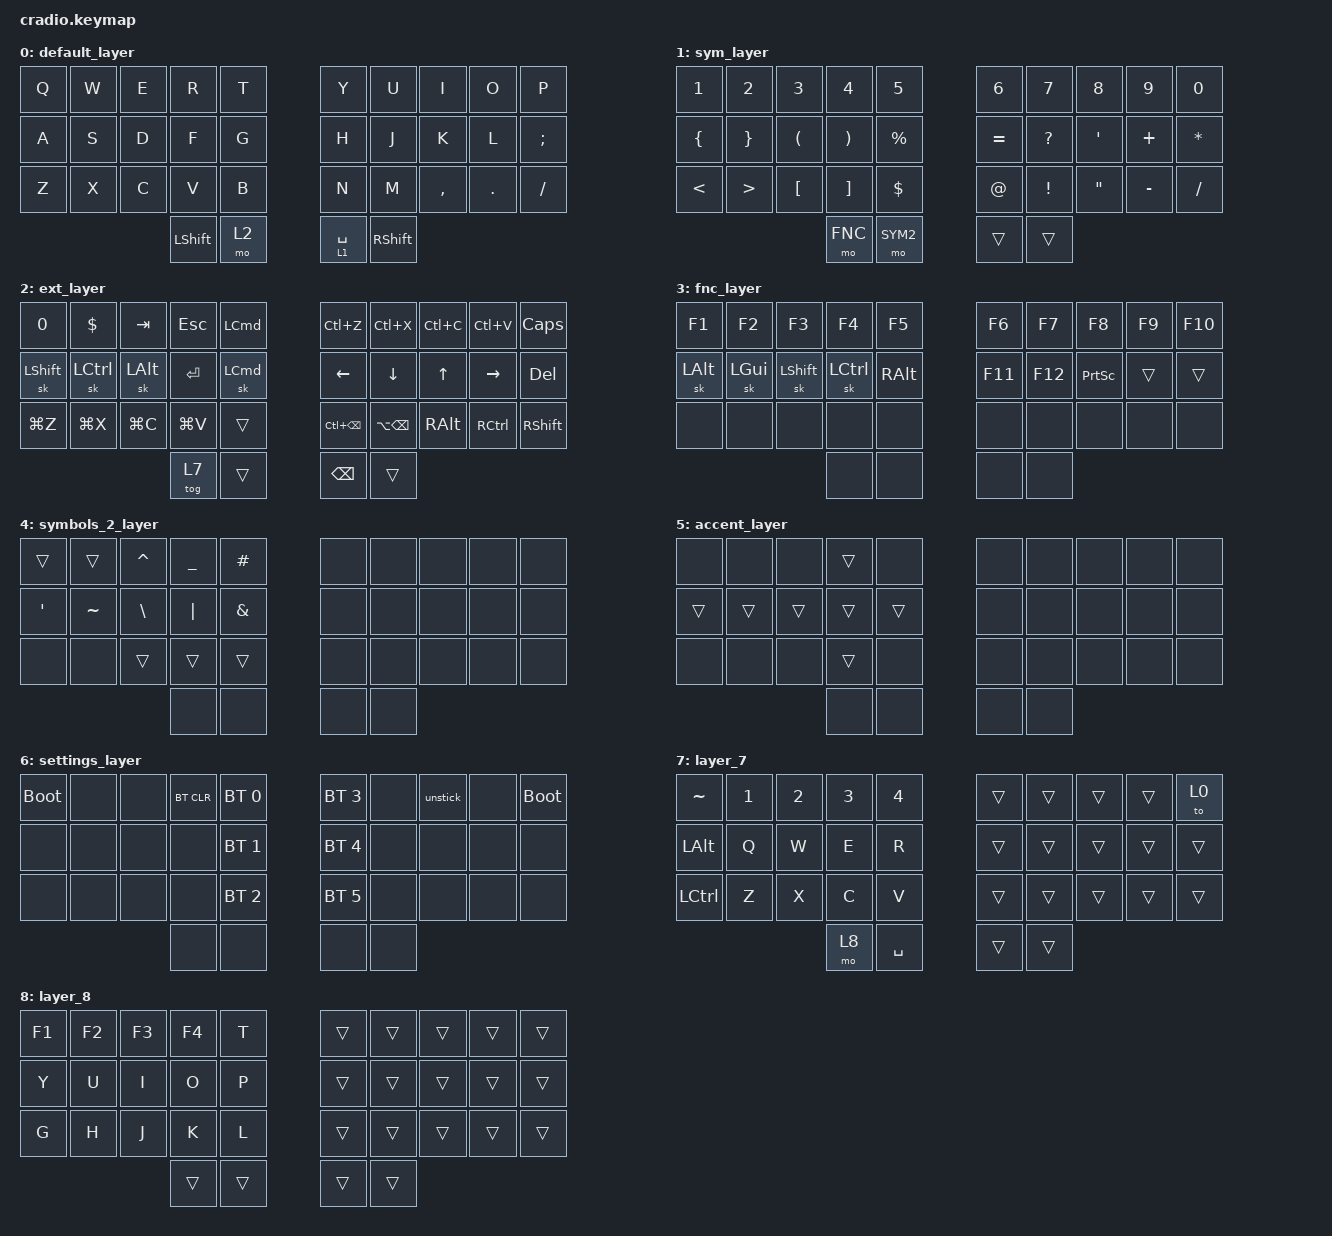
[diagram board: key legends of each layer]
// Copyright (c) 2022 The ZMK Contributors
// SPDX-License-Identifier: MIT

#include "keymap_italian.h"
#include <behaviors.dtsi>
#include <dt-bindings/zmk/bt.h>
#include <dt-bindings/zmk/keys.h>

// Layer definitions

#define BASE 0
#define SYM 1
#define EXT 2
#define FNC 3
#define SYM2 4
#define ACCENT 5
#define SETTINGS 6

// -----------------

&mt {
    //  flavor = "tap-preferred";
    // tapping_term_ms = <200>;
};

&sk { ignore-modifiers; };

/ {
    macros {
        // sometimes my device thinks a modifier is being held down
        // pressing all modifiers fixes it.

        unstick: unstick {
            label = "ZM_unstick";
            compatible = "zmk,behavior-macro";
            #binding-cells = <0>;
            bindings = <&kp LSHIFT &kp RSHIFT &kp LCTRL &kp RCTRL &kp LALT &kp RALT &kp LGUI &kp RGUI>;
        };
    };

    combos {
        compatible = "zmk,combos";

        // both right thumb keys

        combo_accent {
            timeout-ms = <300>;
            key-positions = <32 33>;
            bindings = <&mo ACCENT>;
        };

        // internal-left & external-right thumb keys

        combo_sym2 {
            timeout-ms = <200>;
            key-positions = <31 33>;
            bindings = <&mo SYM2>;
        };

        // both left thumb keys

        combo_settings {
            timeout-ms = <300>;
            key-positions = <30 31>;
            bindings = <&mo SETTINGS>;
        };
    };

    keymap {
        compatible = "zmk,keymap";

        // Base alpha layer

        default_layer {
            bindings = <
&kp Q  &kp W  &kp E  &kp R           &kp T    &kp Y        &kp U            &kp I      &kp O    &kp P
&kp A  &kp S  &kp D  &kp F           &kp G    &kp H        &kp J            &kp K      &kp L    &kp SEMICOLON
&kp Z  &kp X  &kp C  &kp V           &kp B    &kp N        &kp M            &kp COMMA  &kp DOT  &kp SLASH
                     &kp LEFT_SHIFT  &mo 2    &lt 1 SPACE  &kp RIGHT_SHIFT
            >;
        };

        // Numbers and high frequency symbols

        sym_layer {
            bindings = <
&kp N1          &kp N2            &kp N3            &kp N4                 &kp N5         &kp N6     &kp N7        &kp N8             &kp N9     &kp N0
&kp LEFT_BRACE  &kp RIGHT_BRACE   &kp LPAR          &kp RIGHT_PARENTHESIS  &kp PERCENT    &kp EQUAL  &kp QUESTION  &kp SINGLE_QUOTE   &kp PLUS   &kp ASTRK
&kp LESS_THAN   &kp GREATER_THAN  &kp LEFT_BRACKET  &kp RIGHT_BRACKET      &kp DOLLAR     &kp AT     &kp EXCL      &kp DOUBLE_QUOTES  &kp MINUS  &kp SLASH
                                                    &mo FNC                &mo SYM2       &trans     &trans
            >;
        };

        // Main modifiers and arrow keys

        ext_layer {
            bindings = <
&kp N0          &kp DOLLAR        &kp TAB       &kp ESCAPE  &kp LEFT_COMMAND    &kp LC(Z)          &kp LC(X)          &kp LC(C)      &kp LC(V)          &kp CAPS
&sk LEFT_SHIFT  &sk LEFT_CONTROL  &sk LEFT_ALT  &kp ENTER   &sk LEFT_COMMAND    &kp LEFT           &kp DOWN           &kp UP         &kp RIGHT          &kp DEL
&kp LG(Z)       &kp LG(X)         &kp LG(C)     &kp LG(V)   &trans              &kp LC(BACKSPACE)  &kp LA(BACKSPACE)  &kp RIGHT_ALT  &kp RIGHT_CONTROL  &kp RIGHT_SHIFT
                                                &tog 7      &trans              &kp BACKSPACE      &trans
            >;
        };

        // Function keys with modifiers

        fnc_layer {
            bindings = <
&kp F1    &kp F2    &kp F3      &kp F4     &kp F5      &kp F6   &kp F7   &kp F8           &kp F9  &kp F10
&sk LALT  &sk LGUI  &sk LSHIFT  &sk LCTRL  &kp RALT    &kp F11  &kp F12  &kp PRINTSCREEN  &trans  &trans
&none     &none     &none       &none      &none       &none    &none    &none            &none   &none
                                &none      &none       &none    &none
            >;
        };

        // Low frequency symbols.

        symbols_2_layer {
            bindings = <
&trans    &trans     &kp CARET      &kp UNDER  &kp HASH         &none  &none  &none  &none  &none
&kp APOS  &kp TILDE  &kp BACKSLASH  &kp PIPE   &kp AMPERSAND    &none  &none  &none  &none  &none
&none     &none      &trans         &trans     &trans           &none  &none  &none  &none  &none
                                    &none      &none            &none  &none
            >;
        };

        // Used to type regional accents.

        accent_layer {
            bindings = <
&none   &none   &none   &trans  &none     &none  &none  &none  &none  &none
&trans  &trans  &trans  &trans  &trans    &none  &none  &none  &none  &none
&none   &none   &none   &trans  &none     &none  &none  &none  &none  &none
                        &none   &none     &none  &none
            >;
        };

        // Used to change the keyboard's settings.

        settings_layer {
            bindings = <
&bootloader  &none  &none  &bt BT_CLR  &bt BT_SEL 0    &bt BT_SEL 3  &none  &unstick  &none  &bootloader
&none        &none  &none  &none       &bt BT_SEL 1    &bt BT_SEL 4  &none  &none     &none  &none
&none        &none  &none  &none       &bt BT_SEL 2    &bt BT_SEL 5  &none  &none     &none  &none
                           &none       &none           &none         &none
            >;
        };

        layer_7 {
            bindings = <
&kp TILDE     &kp NUMBER_1  &kp NUMBER_2  &kp NUMBER_3  &kp NUMBER_4    &trans  &trans  &trans  &trans  &to 0
&kp LEFT_ALT  &kp Q         &kp W         &kp E         &kp R           &trans  &trans  &trans  &trans  &trans
&kp LCTRL     &kp Z         &kp X         &kp C         &kp V           &trans  &trans  &trans  &trans  &trans
                                          &mo 8         &kp SPACE       &trans  &trans
            >;
        };

        layer_8 {
            bindings = <
&kp F1  &kp F2  &kp F3  &kp F4  &kp T     &trans  &trans  &trans  &trans  &trans
&kp Y   &kp U   &kp I   &kp O   &kp P     &trans  &trans  &trans  &trans  &trans
&kp G   &kp H   &kp J   &kp K   &kp L     &trans  &trans  &trans  &trans  &trans
                        &trans  &trans    &trans  &trans
            >;
        };
    };
};
